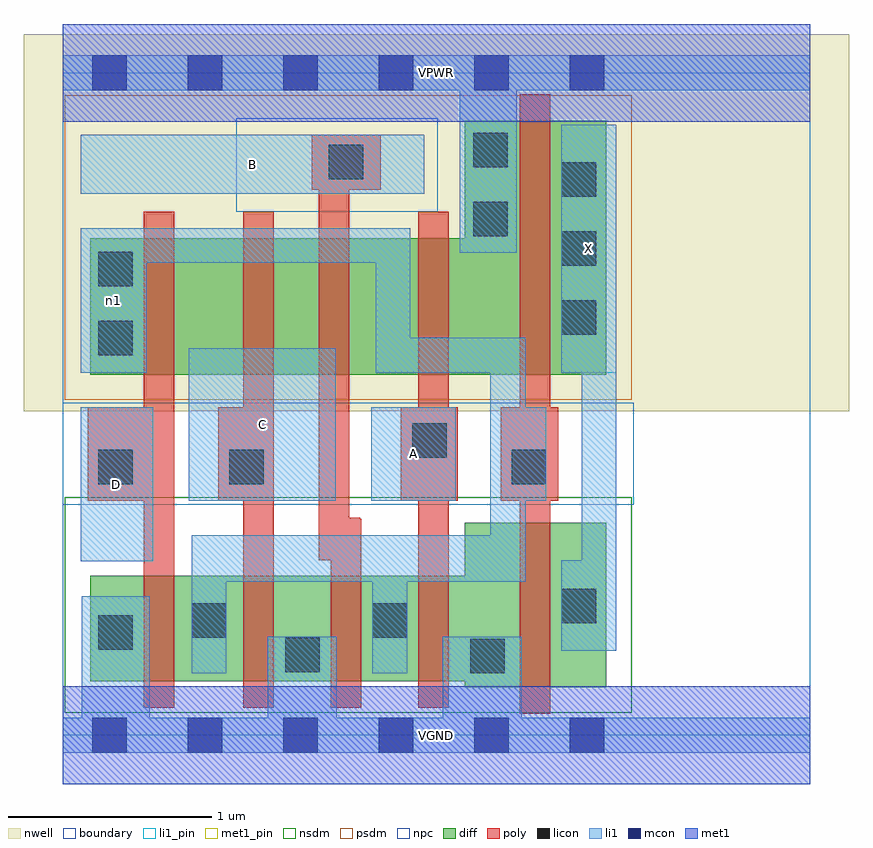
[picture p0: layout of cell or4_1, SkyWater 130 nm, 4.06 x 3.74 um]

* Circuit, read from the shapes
.subckt or4_1 A B C D VGND VPWR X n1
XM1 n1 D VGND VSUBS sky130_fd_pr__nfet_01v8 w=0.52 l=0.15
XM2 VGND C n1 VSUBS sky130_fd_pr__nfet_01v8 w=0.52 l=0.15
XM3 n1 B VGND VSUBS sky130_fd_pr__nfet_01v8 w=0.52 l=0.15
XM4 VGND A n1 VSUBS sky130_fd_pr__nfet_01v8 w=0.52 l=0.15
XM5 X n1 VGND VSUBS sky130_fd_pr__nfet_01v8 w=0.81 l=0.15
XM6 n2 D n1 n3 sky130_fd_pr__pfet_01v8 w=0.67 l=0.15
XM7 n4 C n2 n3 sky130_fd_pr__pfet_01v8 w=0.67 l=0.15
XM8 n5 B n4 n3 sky130_fd_pr__pfet_01v8 w=0.67 l=0.15
XM9 VPWR A n5 n3 sky130_fd_pr__pfet_01v8 w=0.67 l=0.15
XM10 X n1 VPWR n3 sky130_fd_pr__pfet_01v8 w=1.25 l=0.15
.ends

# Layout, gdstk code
import gdstk
lib = gdstk.Library(unit=1e-6, precision=1e-09)
def R(c, l, rs):  # rectangles x0, y0, x1, y1
    for r in rs: c.add(gdstk.rectangle(r[:2], r[2:], *l))
def A(c, l, x, y, w, h, nx, ny, dx, dy):  # array of equal rectangles
    R(c, l, [(x+i*dx, y+j*dy, x+i*dx+w, y+j*dy+h) for i in range(nx) for j in range(ny)])
nwell = (64, 20)
diff = (65, 20)
poly = (66, 20)
licon = (66, 44)
li1_pin = (67, 16)
li1 = (67, 20)
mcon = (67, 44)
met1_pin = (68, 16)
met1 = (68, 20)
nsdm = (93, 44)
psdm = (94, 20)
npc = (95, 20)
boundary = (235, 4)

or4_1 = lib.new_cell('or4_1')
R(or4_1, nwell, [(-0.19,1.595,3.87,3.45), (0,1.595,3.68,3.45)])
R(or4_1, diff, [(1.98,0.235,2.675,1.045), (0.135,0.265,2.675,0.785), (0.135,1.775,2.675,2.445), (1.98,1.775,2.675,3.025)])
R(or4_1, poly, [(2.25,0.105,2.4,3.155), (0.4,0.135,0.55,2.575), (0.89,0.135,1.04,2.575), (1.32,0.135,1.47,1.065), (1.32,0.135,1.465,1.07), (1.75,0.135,1.9,2.575), (1.26,0.86,1.41,2.955), (0.125,1.155,0.55,1.615), (0.765,1.155,1.04,1.615), (1.665,1.155,1.945,1.615), (2.155,1.155,2.44,1.615), (1.225,2.685,1.565,2.955)])
A(or4_1, licon, 2.455, 1.97, 0.17, 0.17, 1, 3, 0, 0.34)
R(or4_1, licon, [(2.005,0.305,2.175,0.475), (1.095,0.31,1.265,0.48), (0.175,0.42,0.345,0.59), (0.635,0.48,0.805,0.65), (1.525,0.48,1.695,0.65), (2.455,0.55,2.625,0.72), (0.175,1.235,0.345,1.405), (0.82,1.235,0.99,1.405), (2.21,1.235,2.38,1.405), (1.72,1.365,1.89,1.535), (0.175,1.87,0.345,2.04), (0.175,2.21,0.345,2.38), (2.02,2.455,2.19,2.625), (1.31,2.735,1.48,2.905), (2.02,2.795,2.19,2.965)])
R(or4_1, li1_pin, [(0.09,0.855,0.445,1.615), (0.62,1.155,1.345,1.905), (1.52,1.155,1.935,1.615), (2.455,1.785,2.725,3.005), (0.09,2.665,1.78,2.955)])
R(or4_1, li1, [(0,-0.085,3.68,0.085), (0.095,-0.085,0.43,0.685), (1.01,-0.085,1.35,0.485), (1.87,-0.085,2.26,0.485), (0.635,0.305,0.805,0.985), (1.525,0.305,1.695,0.985), (2.455,0.415,2.725,0.86), (2.555,0.415,2.725,3.005), (0.635,0.755,2.28,0.985), (2.105,0.755,2.28,1.955), (0.09,0.855,0.445,1.615), (0.62,1.155,1.345,1.905), (1.52,1.155,1.935,1.615), (2.105,1.155,2.38,1.615), (0.09,1.785,0.415,2.495), (1.54,1.785,2.28,1.955), (1.54,1.785,1.71,2.495), (2.455,1.785,2.725,3.005), (0.09,2.325,1.71,2.495), (1.955,2.375,2.235,3.345), (0.09,2.665,1.78,2.955), (0,3.175,3.68,3.345)])
A(or4_1, mcon, 0.145, -0.085, 0.17, 0.17, 6, 2, 0.47, 3.26)
R(or4_1, met1_pin, [(0,-0.24,3.68,0.24), (0,3.02,3.68,3.5)])
R(or4_1, met1, [(0,-0.24,3.68,0.24), (0,3.02,3.68,3.5)])
R(or4_1, nsdm, [(0.01,0.11,2.8,1.17)])
R(or4_1, psdm, [(0.01,1.65,2.8,3.15)])
R(or4_1, npc, [(0,1.135,2.81,1.635), (0.855,2.575,1.845,3.035)])
R(or4_1, boundary, [(0,0,3.68,3.26)])
or4_1.add(gdstk.Label('A', (1.727,1.385), layer=67, texttype=5))
or4_1.add(gdstk.Label('B', (0.935,2.81), layer=67, texttype=5))
or4_1.add(gdstk.Label('C', (0.982,1.53), layer=67, texttype=5))
or4_1.add(gdstk.Label('D', (0.267,1.235), layer=67, texttype=5))
or4_1.add(gdstk.Label('X', (2.59,2.395), layer=67, texttype=5))
or4_1.add(gdstk.Label('n1', (0.252,2.14), layer=67, texttype=5))
or4_1.add(gdstk.Label('VPWR', (1.84,3.26), layer=68, texttype=5))
or4_1.add(gdstk.Label('VGND', (1.84,0), layer=68, texttype=5))
or4_1.add(gdstk.Label('A', (1.727,1.385), layer=67, texttype=16))
or4_1.add(gdstk.Label('B', (0.935,2.81), layer=67, texttype=16))
or4_1.add(gdstk.Label('C', (0.982,1.53), layer=67, texttype=16))
or4_1.add(gdstk.Label('D', (0.267,1.235), layer=67, texttype=16))
or4_1.add(gdstk.Label('X', (2.59,2.395), layer=67, texttype=16))
or4_1.add(gdstk.Label('VPWR', (1.84,3.26), layer=68, texttype=16))
or4_1.add(gdstk.Label('VGND', (1.84,0), layer=68, texttype=16))

lib.write_gds('or4_1.gds')
